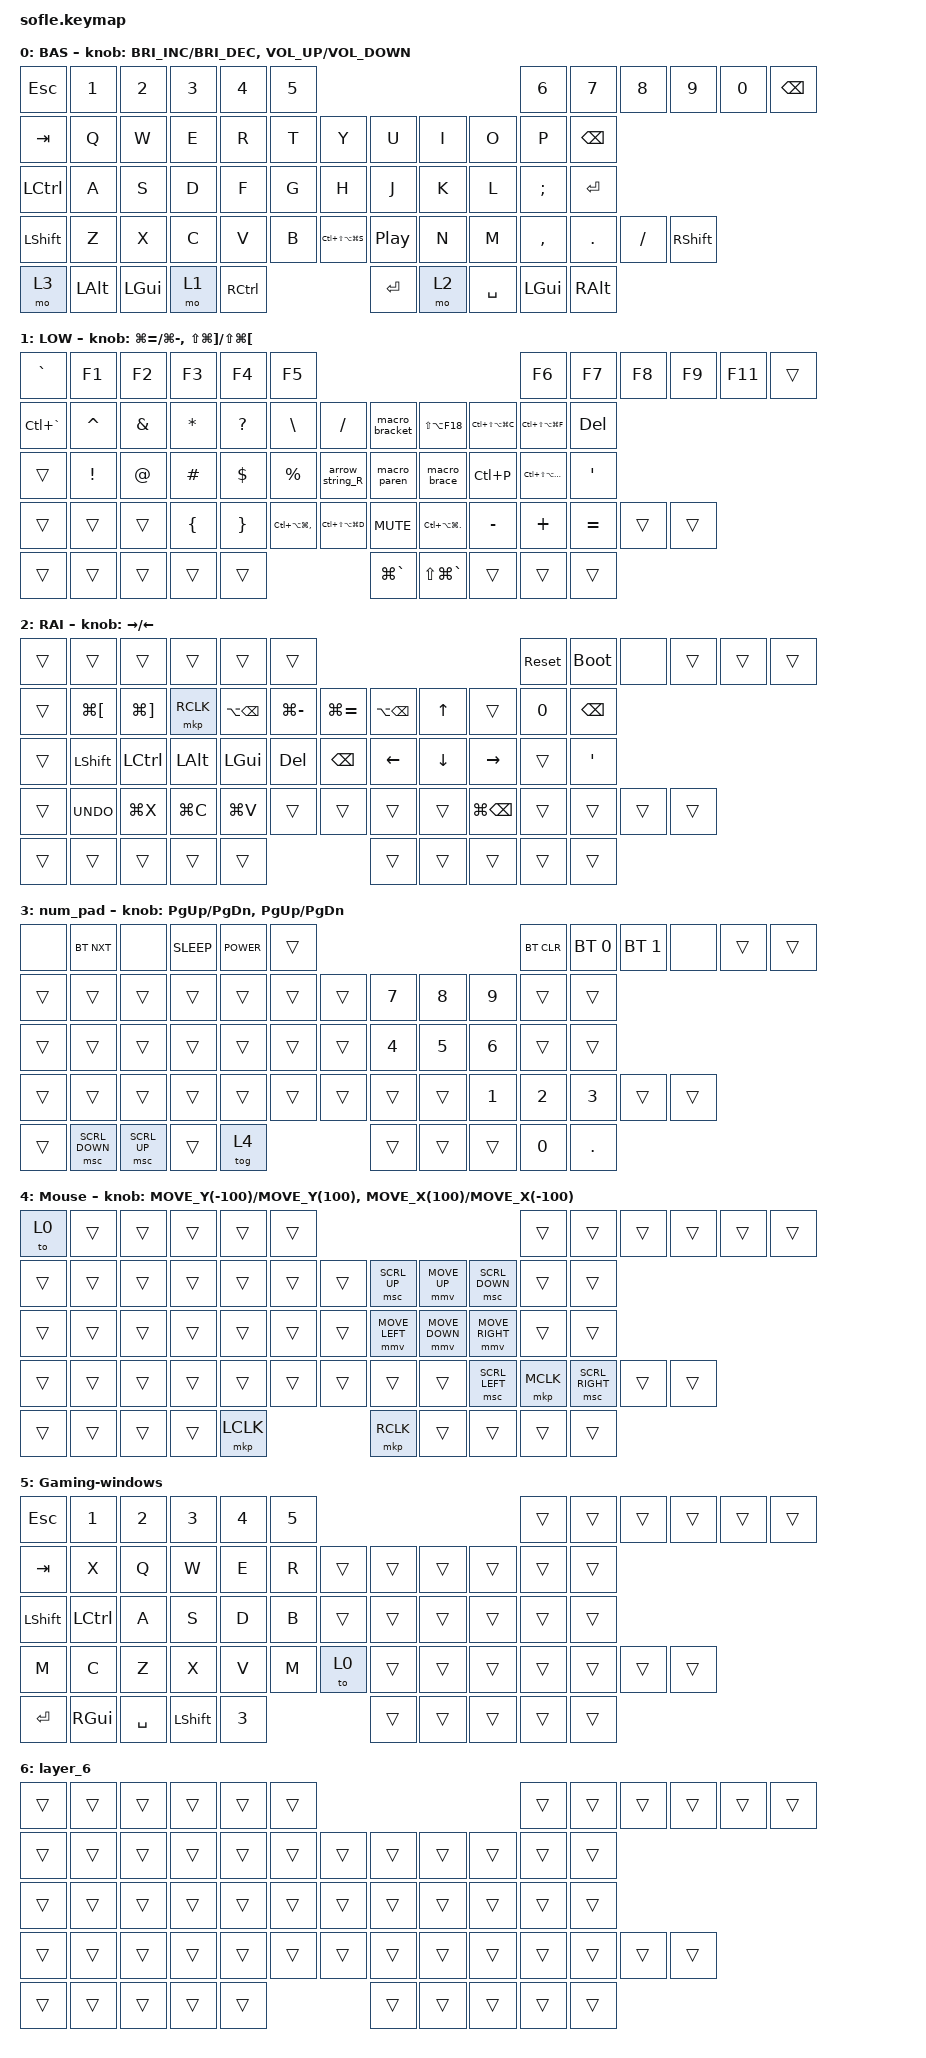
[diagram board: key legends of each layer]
/*
 * Copyright (c) 2020 The ZMK Contributors
 *
 * SPDX-License-Identifier: MIT
 */

#include <behaviors.dtsi>
#include <dt-bindings/zmk/bt.h>
#include <dt-bindings/zmk/keys.h>
#include <dt-bindings/zmk/pointing.h>

/* Override ZMK's built-in &soft_off to require a 1.5s hold.
 * Kept for manual flashing; num_pad layer now aligns to RMK (No),
 * so soft_off is only available via this behavior if re-added. */

&soft_off { hold-time-ms = <1500>; };

/ {
    combos {
        compatible = "zmk,combos";
        /* RMK: F+J -> WM(Kc5, LShift|LG) = screenshot (keyboard.toml:275)
         * physical positions: F=RC(2,4)=28, J=RC(2,7)=31 */
        combo_screenshot {
            bindings = <&kp LG(LS(N5))>;
            key-positions = <28 31>;
        };
        /* RMK: S+D+F -> TO(5) gaming (keyboard.toml:277) */
        go_to_gaming {
            bindings = <&to 5>;
            key-positions = <28 27 26>;
        };
    };
    behaviors {
        encoder_scroll: encoder_scroll {
            compatible = "zmk,behavior-sensor-rotate-var";
            label = "ENCODER_SCROLL";
            #sensor-binding-cells = <2>;
            bindings = <&msc>, <&msc>;
        };
        mouse_movement: mouse_movement {
            compatible = "zmk,behavior-sensor-rotate-var";
            label = "MOUSE_MOVEMENT";
            #sensor-binding-cells = <2>;
            bindings = <&mmv>, <&mmv>;
        };
    };
    macros {
        /* RMK Macro(0): "->"  keyboard.toml:230-236 */
        arrow_string_R: arrow_string_R {
            compatible = "zmk,behavior-macro";
            #binding-cells = <0>;
            bindings = <&macro_tap &kp MINUS>, <&macro_press &kp LSHFT>, <&macro_tap &kp DOT>, <&macro_release &kp LSHFT>;
            label = "ARROW_STRING_R";
        };
        /* RMK Macro(1): "()" + cursor left  keyboard.toml:239-246 */
        macro_paren: macro_paren {
            compatible = "zmk,behavior-macro";
            #binding-cells = <0>;
            bindings = <&macro_press &kp LSHFT>, <&macro_tap &kp N9>, <&macro_tap &kp N0>, <&macro_release &kp LSHFT>, <&macro_tap &kp LEFT>;
            label = "MACRO_PAREN";
        };
        /* RMK Macro(2): "{}"  keyboard.toml:249-256 */
        macro_brace: macro_brace {
            compatible = "zmk,behavior-macro";
            #binding-cells = <0>;
            bindings = <&macro_press &kp LSHFT>, <&macro_tap &kp LBKT>, <&macro_tap &kp RBKT>, <&macro_release &kp LSHFT>, <&macro_tap &kp LEFT>;
            label = "MACRO_BRACE";
        };
        /* RMK Macro(3): "[]"  keyboard.toml:259-264 */
        macro_bracket: macro_bracket {
            compatible = "zmk,behavior-macro";
            #binding-cells = <0>;
            bindings = <&macro_tap &kp LBKT>, <&macro_tap &kp RBKT>, <&macro_tap &kp LEFT>;
            label = "MACRO_BRACKET";
        };
    };
    keymap {
        compatible = "zmk,keymap";
        /* Layer 0 BAS  keyboard.toml:120-127  -> 60 keys */
        default_layer {
            display-name = "BAS";
            bindings = <
                &kp ESC &kp N1 &kp N2 &kp N3 &kp N4 &kp N5 &kp N6 &kp N7 &kp N8 &kp N9 &kp N0 &kp BSPC
                &kp TAB &kp Q &kp W &kp E &kp R &kp T &kp Y &kp U &kp I &kp O &kp P &kp BSPC
                &kp LCTRL &kp A &kp S &kp D &kp F &kp G &kp H &kp J &kp K &kp L &kp SEMI &kp ENTER
                &kp LSHFT &kp Z &kp X &kp C &kp V &kp B &kp LC(LS(LA(LG(S)))) &kp C_PP &kp N &kp M &kp COMMA &kp DOT &kp FSLH &kp RSHFT
                &mo 3 &kp LALT &kp LGUI &mo 1 &kp RCTRL &kp ENTER &mo 2 &kp SPACE &kp LGUI &kp RALT
            >;
            sensor-bindings = <&inc_dec_kp C_BRIGHTNESS_INC C_BRIGHTNESS_DEC>, <&inc_dec_kp C_VOLUME_UP C_VOLUME_DOWN>;
        };
        /* Layer 1 LOW  keyboard.toml:139-147  entropy-synced 2026-09-01 */
        lower_layer {
            display-name = "LOW";
            bindings = <
                &kp GRAVE &kp F1 &kp F2 &kp F3 &kp F4 &kp F5 &kp F6 &kp F7 &kp F8 &kp F9 &kp F11 &trans
                &kp LC(GRAVE) &kp CARET &kp AMPS &kp ASTRK &kp QMARK &kp BSLH &kp FSLH &macro_bracket &kp LS(LA(F18)) &kp LC(LS(LA(LG(C)))) &kp LC(LS(LA(LG(F)))) &kp DEL
                &trans &kp EXCL &kp AT &kp HASH &kp DLLR &kp PRCNT &arrow_string_R &macro_paren &macro_brace &kp LC(P) &kp LC(LS(LA(LG(M)))) &kp SQT
                &trans &trans &trans &kp LBRC &kp RBRC &kp LC(LA(LG(COMMA))) &kp LC(LS(LA(LG(D)))) &kp C_MUTE &kp LC(LA(LG(DOT))) &kp MINUS &kp PLUS &kp EQUAL &trans &trans
                &trans &trans &trans &trans &trans &kp LG(GRAVE) &kp LS(LG(GRAVE)) &trans &trans &trans
            >;
            sensor-bindings = <&inc_dec_kp LG(EQUAL) LG(MINUS)>, <&inc_dec_kp LS(LG(RBKT)) LS(LG(LBKT))>;
        };
        /* Layer 2 RAI  keyboard.toml:154-162 */
        raise_layer {
            display-name = "RAI";
            bindings = <
                &trans &trans &trans &trans &trans &trans &sys_reset &bootloader &none &trans &trans &trans
                &trans &kp LG(LBKT) &kp LG(RBKT) &mkp RCLK &kp LA(BSPC) &kp LG(MINUS) &kp LG(EQUAL) &kp LA(BSPC) &kp UP &trans &kp N0 &kp BSPC
                &trans &kp LSHFT &kp LCTRL &kp LALT &kp LGUI &kp DEL &kp BSPC &kp LEFT &kp DOWN &kp RIGHT &trans &kp SQT
                &trans &kp K_UNDO &kp LG(X) &kp LG(C) &kp LG(V) &trans &trans &trans &trans &kp LG(BSPC) &trans &trans &trans &trans
                &trans &trans &trans &trans &trans &trans &trans &trans &trans &trans
            >;
            sensor-bindings = <&inc_dec_kp RIGHT LEFT>;
        };
        /* Layer 3 num_pad  keyboard.toml:179-186  soft_off dropped -> &trans at (4,0) */
        num_pad {
            display-name = "num_pad";
            bindings = <
                &none &bt BT_NXT &none &kp K_SLEEP &kp K_POWER &trans &bt BT_CLR &bt BT_SEL 0 &bt BT_SEL 1 &none &trans &trans
                &trans &trans &trans &trans &trans &trans &trans &kp N7 &kp N8 &kp N9 &trans &trans
                &trans &trans &trans &trans &trans &trans &trans &kp N4 &kp N5 &kp N6 &trans &trans
                &trans &trans &trans &trans &trans &trans &trans &trans &trans &kp N1 &kp N2 &kp N3 &trans &trans
                &trans &msc SCRL_DOWN &msc SCRL_UP &trans &tog 4 &trans &trans &trans &kp N0 &kp DOT
            >;
            sensor-bindings = <&inc_dec_kp PAGE_UP PAGE_DOWN>, <&inc_dec_kp PAGE_UP PAGE_DOWN>;
        };
        /* Layer 4 Mouse  keyboard.toml:191-200 */
        Mouse {
            display-name = "Mouse";
            bindings = <
                &to 0 &trans &trans &trans &trans &trans &trans &trans &trans &trans &trans &trans
                &trans &trans &trans &trans &trans &trans &trans &msc SCRL_UP &mmv MOVE_UP &msc SCRL_DOWN &trans &trans
                &trans &trans &trans &trans &trans &trans &trans &mmv MOVE_LEFT &mmv MOVE_DOWN &mmv MOVE_RIGHT &trans &trans
                &trans &trans &trans &trans &trans &trans &trans &trans &trans &msc SCRL_LEFT &mkp MCLK &msc SCRL_RIGHT &trans &trans
                &trans &trans &trans &trans &mkp LCLK &mkp RCLK &trans &trans &trans &trans
            >;
            sensor-bindings = <&mouse_movement MOVE_Y(-100) MOVE_Y(100)>, <&mouse_movement MOVE_X(100) MOVE_X(-100)>;
        };
        /* Layer 5 Gaming  keyboard.toml:205-212  inert encoders */
        Gaming_windows {
            display-name = "Gaming-windows";
            bindings = <
                &kp ESC &kp N1 &kp N2 &kp N3 &kp N4 &kp N5 &trans &trans &trans &trans &trans &trans
                &kp TAB &kp X &kp Q &kp W &kp E &kp R &trans &trans &trans &trans &trans &trans
                &kp LSHFT &kp LCTRL &kp A &kp S &kp D &kp B &trans &trans &trans &trans &trans &trans
                &kp M &kp C &kp Z &kp X &kp V &kp M &to 0 &trans &trans &trans &trans &trans &trans &trans
                &kp ENTER &kp RGUI &kp SPACE &kp LSHFT &kp N3 &trans &trans &trans &trans &trans
            >;
        };
        /* Layer 6 empty  keyboard.toml:214-223  12+12+12+14+10=60 */
        layer_6 {
            display-name = "layer_6";
            bindings = <
                &trans &trans &trans &trans &trans &trans &trans &trans &trans &trans &trans &trans
                &trans &trans &trans &trans &trans &trans &trans &trans &trans &trans &trans &trans
                &trans &trans &trans &trans &trans &trans &trans &trans &trans &trans &trans &trans
                &trans &trans &trans &trans &trans &trans &trans &trans &trans &trans &trans &trans &trans &trans
                &trans &trans &trans &trans &trans &trans &trans &trans &trans &trans
            >;
        };
    };
};
